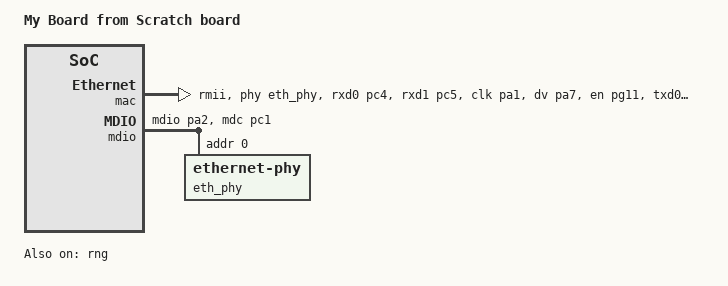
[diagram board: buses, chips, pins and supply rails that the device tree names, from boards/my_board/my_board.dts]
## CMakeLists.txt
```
cmake_minimum_required(VERSION 3.20.0)

list(APPEND BOARD_ROOT "${CMAKE_CURRENT_SOURCE_DIR}")
list(APPEND ZEPHYR_EXTRA_MODULES "${CMAKE_CURRENT_SOURCE_DIR}/modules/our_drivers")
find_package(Zephyr REQUIRED)
project(my_zephyr_app)

target_sources(app PRIVATE src/main.cpp)
target_sources_ifdef(CONFIG_SHELL app PRIVATE src/sensor_shell.c)
```

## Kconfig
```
config APP_HEARTBEAT_PERIOD_MS
    int "Heartbeat LED period (ms)"
    default 500
    range 100 2000
    help
      Sleep duration between heartbeat LED toggles, in milliseconds.

menuconfig LED_SUBSYSTEM
    bool "LED Subsystem"
    default y
    help
      Enable the LED subsystem for this application.

if LED_SUBSYSTEM

choice BLINK_SLEEP_TIME
    prompt "LED blink sleep time"
    default BLINK_SLEEP_TIME_1000MS

config BLINK_SLEEP_TIME_250MS
    bool "250ms (fast)"

config BLINK_SLEEP_TIME_1000MS
    bool "1s (medium)"

config BLINK_SLEEP_TIME_2000MS
    bool "2s (slow)"

endchoice

config BLINK_SLEEP_TIME_MS
    int
    default 250 if BLINK_SLEEP_TIME_250MS
    default 1000 if BLINK_SLEEP_TIME_1000MS
    default 2000 if BLINK_SLEEP_TIME_2000MS
    default 1000

menuconfig LED_ADVANCED_SETTINGS
    bool "Advanced LED settings"
    default n

if LED_ADVANCED_SETTINGS

config LED_BRIGHTNESS
    int "LED brightness (0-100)"
    range 0 100
    default 100

config LED_FADE_DURATION_MS
    int "LED fade duration (ms)"
    range 0 5000
    default 500

menu "Expert settings"

config LED_DEBUG
    bool "Enable LED debugging"
    default n

config LED_CUSTOM_BLINK_PATTERN
    bool "Custom blink pattern"
    default n

endmenu

endif # LED_ADVANCED_SETTINGS

endif # LED_SUBSYSTEM

source "Kconfig.zephyr"
```

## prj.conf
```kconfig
CONFIG_GPIO=y
CONFIG_SENSOR=y
CONFIG_SHELL=y
CONFIG_LOG=y
```

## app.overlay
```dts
/ {
	aliases {
		app-led = &green_led_1;
	};

	led_sensor: led-sensor {
		compatible = "our,led-sensor";
		gpios = <&gpiof 4 GPIO_ACTIVE_HIGH>; /* yellow_led_1 */
		status = "okay";
	};
};
```

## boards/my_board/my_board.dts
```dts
/*
 * Copyright (c) 2021 Linaro Limited
 * Copyright (c) 2023 Thomas Stranger
 *
 * SPDX-License-Identifier: Apache-2.0
 */

/dts-v1/;
#include "my_board-common.dtsi"

/ {
	model = "My Board from Scratch board";
	compatible = "juanmanuel,my-board";

	chosen {
		zephyr,console = &usart3;
		zephyr,shell-uart = &usart3;
		zephyr,sram = &sram1;
		zephyr,flash = &flash0;
		zephyr,code-partition = &slot0_partition;
		zephyr,canbus = &fdcan1;
	};

	aliases {
		led0 = &green_led_1;
		led1 = &yellow_led_1;
		rtc = &rtc;
		sw0 = &user_button;
		watchdog0 = &iwdg;
		pwm-led0 = &pwm_led_1;
		volt-sensor0 = &vref;
		volt-sensor1 = &vbat;
	};
};

&rng {
	status = "okay";
};

&mac {
	status = "okay";
	pinctrl-0 = <&eth_rxd0_pc4
		     &eth_rxd1_pc5
		     &eth_ref_clk_pa1
		     &eth_crs_dv_pa7
		     &eth_tx_en_pg11
		     &eth_txd0_pg13
		     &eth_txd1_pb15>;
	pinctrl-names = "default";
	phy-connection-type = "rmii";
	phy-handle = <&eth_phy>;
};

&mdio {
	status = "okay";
	pinctrl-0 = <&eth_mdio_pa2 &eth_mdc_pc1>;
	pinctrl-names = "default";

	eth_phy: ethernet-phy@0 {
		compatible = "ethernet-phy";
		reg = <0x00>;
	};
};
```

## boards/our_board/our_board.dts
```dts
/*
 * Copyright (c) 2021 Linaro Limited
 * Copyright (c) 2023 Thomas Stranger
 *
 * SPDX-License-Identifier: Apache-2.0
 */

/dts-v1/;
#include "our_board-common.dtsi"

/ {
	model = "STMicroelectronics STM32H563ZI-NUCLEO board";
	compatible = "st,stm32h563zi-nucleo";

	chosen {
		zephyr,console = &usart3;
		zephyr,shell-uart = &usart3;
		zephyr,sram = &sram1;
		zephyr,flash = &flash0;
		zephyr,code-partition = &slot0_partition;
		zephyr,canbus = &fdcan1;
	};

	aliases {
		led0 = &green_led_1;
		led1 = &yellow_led_1;
		rtc = &rtc;
		sw0 = &user_button;
		watchdog0 = &iwdg;
		pwm-led0 = &pwm_led_1;
		volt-sensor0 = &vref;
		volt-sensor1 = &vbat;
	};
};

&rng {
	status = "okay";
};

&mac {
	status = "okay";
	pinctrl-0 = <&eth_rxd0_pc4
		     &eth_rxd1_pc5
		     &eth_ref_clk_pa1
		     &eth_crs_dv_pa7
		     &eth_tx_en_pg11
		     &eth_txd0_pg13
		     &eth_txd1_pb15>;
	pinctrl-names = "default";
	phy-connection-type = "rmii";
	phy-handle = <&eth_phy>;
};

&mdio {
	status = "okay";
	pinctrl-0 = <&eth_mdio_pa2 &eth_mdc_pc1>;
	pinctrl-names = "default";

	eth_phy: ethernet-phy@0 {
		compatible = "ethernet-phy";
		reg = <0x00>;
	};
};
```

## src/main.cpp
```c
#include <zephyr/drivers/gpio.h>
#include <zephyr/drivers/sensor.h>
#include <zephyr/kernel.h>
#include <zephyr/logging/log.h>

#include <our_drivers/led_sensor.h>

/* The devicetree node identifier for the "app-led" alias. */
#define LED_NODE DT_ALIAS(app_led)

static const struct gpio_dt_spec led = GPIO_DT_SPEC_GET(LED_NODE, gpios);

LOG_MODULE_REGISTER(main, LOG_LEVEL_INF);

int main(void)
{
    bool led_state = true;
    bool keep_on = false;
    struct sensor_value val;
    const struct device *led_sensor = DEVICE_DT_GET_ANY(our_led_sensor);

    if (!gpio_is_ready_dt(&led)) return 0;

    if (gpio_pin_configure_dt(&led, GPIO_OUTPUT_ACTIVE) < 0) return 0;

    if (!device_is_ready(led_sensor)) {
        LOG_ERR("LED sensor not ready");
        return 0;
    }

    while (1) {
        if (gpio_pin_toggle_dt(&led) < 0) return 0;

        led_state = !led_state;
        LOG_INF("LED state: %s", led_state ? "ON" : "OFF");

        /* Extension API: alternate whether the channel read keeps the LED on. */
        keep_on = !keep_on;
        if (led_sensor_set_keep_on(led_sensor, keep_on) < 0) {
            LOG_ERR("led_sensor_set_keep_on failed");
        }
        LOG_INF("Sensor keep_on: %s", keep_on ? "yes" : "no");

        /* The fetch turns the sensor LED on, the channel read turns it off. */
        if (sensor_sample_fetch(led_sensor) < 0) {
            LOG_ERR("sensor_sample_fetch failed");
        }
        k_msleep(CONFIG_APP_HEARTBEAT_PERIOD_MS / 2);

        if (sensor_channel_get(led_sensor, SENSOR_CHAN_PROX, &val) < 0) {
            LOG_ERR("sensor_channel_get failed");
        } else {
            LOG_INF("Sensor LED was: %s", val.val1 ? "ON" : "OFF");
        }
        k_msleep(CONFIG_APP_HEARTBEAT_PERIOD_MS / 2);
    }
    return 0;
}
```

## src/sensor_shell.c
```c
/*
 * SPDX-License-Identifier: Apache-2.0
 */

#include <zephyr/device.h>
#include <zephyr/drivers/sensor.h>
#include <zephyr/shell/shell.h>

#include <errno.h>
#include <stdlib.h>

#include <our_drivers/led_sensor.h>

static const struct device *const led_sensor = DEVICE_DT_GET_ANY(our_led_sensor);

static int check_ready(const struct shell *sh)
{
	if (led_sensor == NULL || !device_is_ready(led_sensor)) {
		shell_error(sh, "LED sensor is not ready");
		return -ENODEV;
	}

	return 0;
}

static int cmd_sensor_fetch(const struct shell *sh, size_t argc, char **argv)
{
	int ret;

	ARG_UNUSED(argc);
	ARG_UNUSED(argv);

	ret = check_ready(sh);
	if (ret < 0) {
		return ret;
	}

	ret = sensor_sample_fetch(led_sensor);
	if (ret < 0) {
		shell_error(sh, "sensor_sample_fetch failed (%d)", ret);
		return ret;
	}

	shell_print(sh, "Sample fetched, LED on");

	return 0;
}

static int cmd_sensor_read(const struct shell *sh, size_t argc, char **argv)
{
	struct sensor_value val;
	int ret;

	ARG_UNUSED(argc);
	ARG_UNUSED(argv);

	ret = check_ready(sh);
	if (ret < 0) {
		return ret;
	}

	ret = sensor_channel_get(led_sensor, SENSOR_CHAN_PROX, &val);
	if (ret < 0) {
		shell_error(sh, "sensor_channel_get failed (%d)", ret);
		return ret;
	}

	shell_print(sh, "LED was: %s (val1=%d, val2=%d)", val.val1 ? "ON" : "OFF", val.val1,
		    val.val2);

	return 0;
}

static int cmd_sensor_info(const struct shell *sh, size_t argc, char **argv)
{
	ARG_UNUSED(argc);
	ARG_UNUSED(argv);

	if (led_sensor == NULL) {
		shell_error(sh, "No LED sensor device found");
		return -ENODEV;
	}

	shell_print(sh, "Device: %s", led_sensor->name);
	shell_print(sh, "Ready:  %s", device_is_ready(led_sensor) ? "yes" : "no");

	return 0;
}

static int cmd_sensor_set(const struct shell *sh, size_t argc, char **argv)
{
	char *end;
	long value;
	int ret;

	ARG_UNUSED(argc);

	ret = check_ready(sh);
	if (ret < 0) {
		return ret;
	}

	errno = 0;
	value = strtol(argv[1], &end, 0);
	if (errno != 0 || end == argv[1] || *end != '\0') {
		shell_error(sh, "Invalid value '%s': expected a number (0 or 1)", argv[1]);
		return -EINVAL;
	}

	if (value < 0 || value > 1) {
		shell_error(sh, "Value %ld out of range: expected 0 or 1", value);
		return -ERANGE;
	}

	ret = led_sensor_set_keep_on(led_sensor, value != 0);
	if (ret < 0) {
		shell_error(sh, "led_sensor_set_keep_on failed (%d)", ret);
		return ret;
	}

	shell_print(sh, "keep_on = %ld (read %s the LED on)", value,
		    value ? "leaves" : "turns off");

	return 0;
}

SHELL_STATIC_SUBCMD_SET_CREATE(sub_sensor,
	SHELL_CMD(fetch, NULL, "Fetch a sample (turns the LED on)", cmd_sensor_fetch),
	SHELL_CMD(read, NULL, "Read the channel (turns the LED off)", cmd_sensor_read),
	SHELL_CMD(info, NULL, "Show device name and ready state", cmd_sensor_info),
	SHELL_CMD_ARG(set, NULL, "Set keep_on: 1 keeps the LED on after read, 0 turns it off\n"
				 "Usage: sensor set <0|1>", cmd_sensor_set, 2, 0),
	SHELL_SUBCMD_SET_END);

SHELL_CMD_REGISTER(sensor, &sub_sensor, "LED sensor commands", NULL);
```
